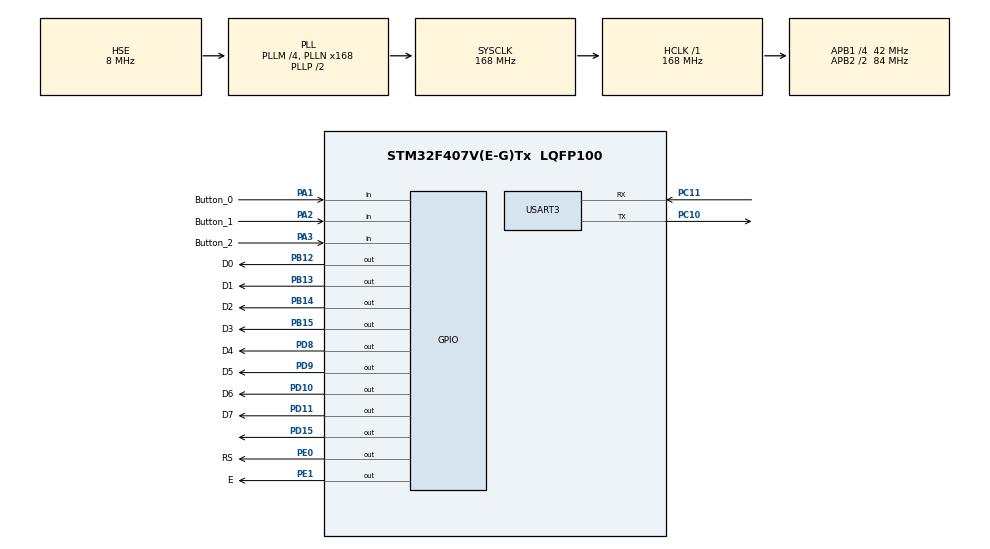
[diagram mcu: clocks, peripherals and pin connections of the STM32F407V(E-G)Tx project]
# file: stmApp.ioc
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Dma.Request0=USART3_TX
Dma.Request1=USART3_RX
Dma.USART3_RX.1.Direction=DMA_PERIPH_TO_MEMORY
Dma.USART3_RX.1.FIFOMode=DMA_FIFOMODE_DISABLE
Dma.USART3_RX.1.Instance=DMA1_Stream1
Dma.USART3_RX.1.MemDataAlignment=DMA_MDATAALIGN_BYTE
Dma.USART3_RX.1.MemInc=DMA_MINC_ENABLE
Dma.USART3_RX.1.Mode=DMA_NORMAL
Dma.USART3_RX.1.PeriphDataAlignment=DMA_PDATAALIGN_BYTE
Dma.USART3_RX.1.PeriphInc=DMA_PINC_DISABLE
Dma.USART3_RX.1.Priority=DMA_PRIORITY_LOW
Dma.USART3_TX.0.Direction=DMA_MEMORY_TO_PERIPH
Dma.USART3_TX.0.FIFOMode=DMA_FIFOMODE_DISABLE
Dma.USART3_TX.0.Instance=DMA1_Stream3
Dma.USART3_TX.0.MemDataAlignment=DMA_MDATAALIGN_BYTE
Dma.USART3_TX.0.MemInc=DMA_MINC_ENABLE
Dma.USART3_TX.0.Mode=DMA_NORMAL
Dma.USART3_TX.0.PeriphDataAlignment=DMA_PDATAALIGN_BYTE
Dma.USART3_TX.0.PeriphInc=DMA_PINC_DISABLE
Dma.USART3_TX.0.Priority=DMA_PRIORITY_LOW
Mcu.Family=STM32F4
Mcu.Name=STM32F407V(E-G)Tx
Mcu.Package=LQFP100
NVIC.DMA1_Stream1_IRQn=true\:0\:0\:false\:false\:true\:false
NVIC.DMA1_Stream3_IRQn=true\:0\:0\:false\:false\:true\:false
NVIC.PriorityGroup=NVIC_PRIORITYGROUP_4
NVIC.TIM1_UP_TIM10_IRQn=true\:0\:0\:false\:false\:true\:true
NVIC.USART3_IRQn=true\:0\:0\:false\:false\:true\:true
PA1.GPIO_Label=Button_0
PA1.GPIO_PuPd=GPIO_PULLUP
PA1.Signal=GPIO_Input
PA2.GPIO_Label=Button_1
PA2.GPIO_PuPd=GPIO_PULLUP
PA2.Signal=GPIO_Input
PA3.GPIO_Label=Button_2
PA3.GPIO_PuPd=GPIO_PULLUP
PA3.Signal=GPIO_Input
PB12.GPIO_Label=D0
PB12.Signal=GPIO_Output
PB13.GPIO_Label=D1
PB13.Signal=GPIO_Output
PB14.GPIO_Label=D2
PB14.Signal=GPIO_Output
PB15.GPIO_Label=D3
PB15.Signal=GPIO_Output
PC10.Mode=Asynchronous
PC10.Signal=USART3_TX
PC11.Mode=Asynchronous
PC11.Signal=USART3_RX
PD10.GPIO_Label=D6
PD10.Signal=GPIO_Output
PD11.GPIO_Label=D7
PD11.Signal=GPIO_Output
PD15.Signal=GPIO_Output
PD8.GPIO_Label=D4
PD8.Signal=GPIO_Output
PD9.GPIO_Label=D5
PD9.Signal=GPIO_Output
PE0.GPIO_Label=RS
PE0.Signal=GPIO_Output
PE1.GPIO_Label=E
PE1.Signal=GPIO_Output
PH0-OSC_IN.Mode=HSE-External-Oscillator
PH0-OSC_IN.Signal=RCC_OSC_IN
PH1-OSC_OUT.Mode=HSE-External-Oscillator
PH1-OSC_OUT.Signal=RCC_OSC_OUT
ProjectManager.HeapSize=0x200
ProjectManager.StackSize=0x400
ProjectManager.TargetToolchain=SW4STM32
RCC.48MHZClocksFreq_Value=84000000
RCC.AHBFreq_Value=168000000
RCC.APB1CLKDivider=RCC_HCLK_DIV4
RCC.APB1Freq_Value=42000000
RCC.APB1TimFreq_Value=84000000
RCC.APB2CLKDivider=RCC_HCLK_DIV2
RCC.APB2Freq_Value=84000000
RCC.APB2TimFreq_Value=168000000
RCC.CortexFreq_Value=168000000
RCC.HCLKFreq_Value=168000000
RCC.HSE_VALUE=8000000
RCC.HSI_VALUE=16000000
RCC.LSE_VALUE=32768
RCC.PLLM=4
RCC.PLLN=168
RCC.PLLSourceVirtual=RCC_PLLSOURCE_HSE
RCC.SYSCLKFreq_VALUE=168000000
RCC.SYSCLKSource=RCC_SYSCLKSOURCE_PLLCLK
RCC.VCOOutputFreq_Value=336000000
TIM10.Period=9999
TIM10.Prescaler=8399
USART3.VirtualMode=VM_ASYNC
VP_TIM10_VS_ClockSourceINT.Mode=Enable_Timer
board=custom

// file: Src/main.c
/**
  ******************************************************************************
  * @file           : main.c
  * @brief          : Main program body
  ******************************************************************************
  ** This notice applies to any and all portions of this file
  * that are not between comment pairs USER CODE BEGIN and
  * USER CODE END. Other portions of this file, whether
  * inserted by the user or by software development tools
  * are owned by their respective copyright owners.
  *
  * COPYRIGHT(c) 2018 STMicroelectronics
  *
  * Redistribution and use in source and binary forms, with or without modification,
  * are permitted provided that the following conditions are met:
  *   1. Redistributions of source code must retain the above copyright notice,
  *      this list of conditions and the following disclaimer.
  *   2. Redistributions in binary form must reproduce the above copyright notice,
  *      this list of conditions and the following disclaimer in the documentation
  *      and/or other materials provided with the distribution.
  *   3. Neither the name of STMicroelectronics nor the names of its contributors
  *      may be used to endorse or promote products derived from this software
  *      without specific prior written permission.
  *
  * THIS SOFTWARE IS PROVIDED BY THE COPYRIGHT HOLDERS AND CONTRIBUTORS "AS IS"
  * AND ANY EXPRESS OR IMPLIED WARRANTIES, INCLUDING, BUT NOT LIMITED TO, THE
  * IMPLIED WARRANTIES OF MERCHANTABILITY AND FITNESS FOR A PARTICULAR PURPOSE ARE
  * DISCLAIMED. IN NO EVENT SHALL THE COPYRIGHT HOLDER OR CONTRIBUTORS BE LIABLE
  * FOR ANY DIRECT, INDIRECT, INCIDENTAL, SPECIAL, EXEMPLARY, OR CONSEQUENTIAL
  * DAMAGES (INCLUDING, BUT NOT LIMITED TO, PROCUREMENT OF SUBSTITUTE GOODS OR
  * SERVICES; LOSS OF USE, DATA, OR PROFITS; OR BUSINESS INTERRUPTION) HOWEVER
  * CAUSED AND ON ANY THEORY OF LIABILITY, WHETHER IN CONTRACT, STRICT LIABILITY,
  * OR TORT (INCLUDING NEGLIGENCE OR OTHERWISE) ARISING IN ANY WAY OUT OF THE USE
  * OF THIS SOFTWARE, EVEN IF ADVISED OF THE POSSIBILITY OF SUCH DAMAGE.
  *
  ******************************************************************************
  */
#include "main.h"
#include "stm32f4xx_hal.h"

/* USER CODE BEGIN Includes */
#include <stdlib.h>
#include <stdio.h>
/* USER CODE END Includes */

TIM_HandleTypeDef htim10;

UART_HandleTypeDef huart3;
DMA_HandleTypeDef hdma_usart3_tx;
DMA_HandleTypeDef hdma_usart3_rx;

/* USER CODE BEGIN PV */
/* Private variables ---------------------------------------------------------*/
uint8_t Received[250];
const float PLN = 3.71;
static uint8_t AllData[300];
	 static uint8_t Data1[250];
	 static uint8_t Data2[250];
	 static uint8_t Price[15];
/* USER CODE END PV */

void SystemClock_Config(void);
static void MX_GPIO_Init(void);
static void MX_DMA_Init(void);
static void MX_USART3_UART_Init(void);
static void MX_TIM10_Init(void);

/* USER CODE BEGIN PFP */
/* Private function prototypes -----------------------------------------------*/
void HAL_UART_RxCpltCallback(UART_HandleTypeDef *huart);
void HD44780_Print(uint8_t *message);
void send();
/* USER CODE END PFP */

int main(void)
{

  /* MCU Configuration----------------------------------------------------------*/

  /* Reset of all peripherals, Initializes the Flash interface and the Systick. */
  HAL_Init();

  /* Configure the system clock */
  SystemClock_Config();

  /* Initialize all configured peripherals */
  MX_GPIO_Init();
  MX_DMA_Init();
  MX_USART3_UART_Init();
  MX_TIM10_Init();

  /* USER CODE BEGIN 2 */
  HAL_TIM_Base_Start_IT(&htim10);
  HAL_UART_Receive_DMA(&huart3, &Received, 250);
  /* USER CODE END 2 */

  /* Infinite loop */
  /* USER CODE BEGIN WHILE */
  LCD1602_Begin8BIT(RS_GPIO_Port,RS_Pin,E_Pin,D0_GPIO_Port,D0_Pin,D1_Pin,D2_Pin,D3_Pin,D4_GPIO_Port,D4_Pin,D5_Pin,D6_Pin,D7_Pin);
  while (1)
  {

  /* USER CODE END WHILE */
	  send();

  }

}

void SystemClock_Config(void)
{

  RCC_OscInitTypeDef RCC_OscInitStruct;
  RCC_ClkInitTypeDef RCC_ClkInitStruct;

    /**Configure the main internal regulator output voltage
    */
  __HAL_RCC_PWR_CLK_ENABLE();

  __HAL_PWR_VOLTAGESCALING_CONFIG(PWR_REGULATOR_VOLTAGE_SCALE1);

    /**Initializes the CPU, AHB and APB busses clocks
    */
  RCC_OscInitStruct.OscillatorType = RCC_OSCILLATORTYPE_HSE;
  RCC_OscInitStruct.HSEState = RCC_HSE_ON;
  RCC_OscInitStruct.PLL.PLLState = RCC_PLL_ON;
  RCC_OscInitStruct.PLL.PLLSource = RCC_PLLSOURCE_HSE;
  RCC_OscInitStruct.PLL.PLLM = 4;
  RCC_OscInitStruct.PLL.PLLN = 168;
  RCC_OscInitStruct.PLL.PLLP = RCC_PLLP_DIV2;
  RCC_OscInitStruct.PLL.PLLQ = 4;
  if (HAL_RCC_OscConfig(&RCC_OscInitStruct) != HAL_OK)
  {
    _Error_Handler(__FILE__, __LINE__);
  }

    /**Initializes the CPU, AHB and APB busses clocks
    */
  RCC_ClkInitStruct.ClockType = RCC_CLOCKTYPE_HCLK|RCC_CLOCKTYPE_SYSCLK
                              |RCC_CLOCKTYPE_PCLK1|RCC_CLOCKTYPE_PCLK2;
  RCC_ClkInitStruct.SYSCLKSource = RCC_SYSCLKSOURCE_PLLCLK;
  RCC_ClkInitStruct.AHBCLKDivider = RCC_SYSCLK_DIV1;
  RCC_ClkInitStruct.APB1CLKDivider = RCC_HCLK_DIV4;
  RCC_ClkInitStruct.APB2CLKDivider = RCC_HCLK_DIV2;

  if (HAL_RCC_ClockConfig(&RCC_ClkInitStruct, FLASH_LATENCY_5) != HAL_OK)
  {
    _Error_Handler(__FILE__, __LINE__);
  }

    /**Configure the Systick interrupt time
    */
  HAL_SYSTICK_Config(HAL_RCC_GetHCLKFreq()/1000);

    /**Configure the Systick
    */
  HAL_SYSTICK_CLKSourceConfig(SYSTICK_CLKSOURCE_HCLK);

  /* SysTick_IRQn interrupt configuration */
  HAL_NVIC_SetPriority(SysTick_IRQn, 0, 0);
}

/* TIM10 init function */
static void MX_TIM10_Init(void)
{

  htim10.Instance = TIM10;
  htim10.Init.Prescaler = 8399;
  htim10.Init.CounterMode = TIM_COUNTERMODE_UP;
  htim10.Init.Period = 9999;
  htim10.Init.ClockDivision = TIM_CLOCKDIVISION_DIV1;
  if (HAL_TIM_Base_Init(&htim10) != HAL_OK)
  {
    _Error_Handler(__FILE__, __LINE__);
  }

}

/* USART3 init function */
static void MX_USART3_UART_Init(void)
{

  huart3.Instance = USART3;
  huart3.Init.BaudRate = 115200;
  huart3.Init.WordLength = UART_WORDLENGTH_8B;
  huart3.Init.StopBits = UART_STOPBITS_1;
  huart3.Init.Parity = UART_PARITY_NONE;
  huart3.Init.Mode = UART_MODE_TX_RX;
  huart3.Init.HwFlowCtl = UART_HWCONTROL_NONE;
  huart3.Init.OverSampling = UART_OVERSAMPLING_16;
  if (HAL_UART_Init(&huart3) != HAL_OK)
  {
    _Error_Handler(__FILE__, __LINE__);
  }

}

static void MX_DMA_Init(void)
{
  /* DMA controller clock enable */
  __HAL_RCC_DMA1_CLK_ENABLE();

  /* DMA interrupt init */
  /* DMA1_Stream1_IRQn interrupt configuration */
  HAL_NVIC_SetPriority(DMA1_Stream1_IRQn, 0, 0);
  HAL_NVIC_EnableIRQ(DMA1_Stream1_IRQn);
  /* DMA1_Stream3_IRQn interrupt configuration */
  HAL_NVIC_SetPriority(DMA1_Stream3_IRQn, 0, 0);
  HAL_NVIC_EnableIRQ(DMA1_Stream3_IRQn);

}

/** Configure pins as
        * Analog
        * Input
        * Output
        * EVENT_OUT
        * EXTI
*/
static void MX_GPIO_Init(void)
{

  GPIO_InitTypeDef GPIO_InitStruct;

  /* GPIO Ports Clock Enable */
  __HAL_RCC_GPIOH_CLK_ENABLE();
  __HAL_RCC_GPIOA_CLK_ENABLE();
  __HAL_RCC_GPIOB_CLK_ENABLE();
  __HAL_RCC_GPIOD_CLK_ENABLE();
  __HAL_RCC_GPIOC_CLK_ENABLE();
  __HAL_RCC_GPIOE_CLK_ENABLE();

  /*Configure GPIO pin Output Level */
  HAL_GPIO_WritePin(GPIOB, D0_Pin|D1_Pin|D2_Pin|D3_Pin, GPIO_PIN_RESET);

  /*Configure GPIO pin Output Level */
  HAL_GPIO_WritePin(GPIOD, D4_Pin|D5_Pin|D6_Pin|D7_Pin
                          |GPIO_PIN_15, GPIO_PIN_RESET);

  /*Configure GPIO pin Output Level */
  HAL_GPIO_WritePin(GPIOE, RS_Pin|E_Pin, GPIO_PIN_RESET);

  /*Configure GPIO pins : Button_0_Pin Button_1_Pin Button_2_Pin */
  GPIO_InitStruct.Pin = Button_0_Pin|Button_1_Pin|Button_2_Pin;
  GPIO_InitStruct.Mode = GPIO_MODE_INPUT;
  GPIO_InitStruct.Pull = GPIO_PULLUP;
  HAL_GPIO_Init(GPIOA, &GPIO_InitStruct);

  /*Configure GPIO pins : D0_Pin D1_Pin D2_Pin D3_Pin */
  GPIO_InitStruct.Pin = D0_Pin|D1_Pin|D2_Pin|D3_Pin;
  GPIO_InitStruct.Mode = GPIO_MODE_OUTPUT_PP;
  GPIO_InitStruct.Pull = GPIO_NOPULL;
  GPIO_InitStruct.Speed = GPIO_SPEED_FREQ_LOW;
  HAL_GPIO_Init(GPIOB, &GPIO_InitStruct);

  /*Configure GPIO pins : D4_Pin D5_Pin D6_Pin D7_Pin
                           PD15 */
  GPIO_InitStruct.Pin = D4_Pin|D5_Pin|D6_Pin|D7_Pin
                          |GPIO_PIN_15;
  GPIO_InitStruct.Mode = GPIO_MODE_OUTPUT_PP;
  GPIO_InitStruct.Pull = GPIO_NOPULL;
  GPIO_InitStruct.Speed = GPIO_SPEED_FREQ_LOW;
  HAL_GPIO_Init(GPIOD, &GPIO_InitStruct);

  /*Configure GPIO pins : RS_Pin E_Pin */
  GPIO_InitStruct.Pin = RS_Pin|E_Pin;
  GPIO_InitStruct.Mode = GPIO_MODE_OUTPUT_PP;
  GPIO_InitStruct.Pull = GPIO_NOPULL;
  GPIO_InitStruct.Speed = GPIO_SPEED_FREQ_LOW;
  HAL_GPIO_Init(GPIOE, &GPIO_InitStruct);

}

/* USER CODE BEGIN 4 */
void HAL_UART_RxCpltCallback(UART_HandleTypeDef *huart){

	 sprintf(AllData, "%s\n\r", Received);

	 float fPrice;
	 int i = 0;
	 for(int j = 19; AllData[j]!=';'; j++){
		 Price[i] = AllData[j];
	 }
	 fPrice = atof(Price);
	 i = 0;
	 while(AllData[i]!=';'){
		 Data1[i]=AllData[i];
		 i++;
	 }
	 int j = i;
	 i = 0;
	 while(AllData[j]!=';'){
		 Data2[i] = AllData[j];
		 j++;
		 i++;
	 }

	 HAL_UART_Transmit_DMA(&huart3, AllData, 300);

	 if((!HAL_GPIO_ReadPin(GPIOA, Button_0_Pin))){
		//LCD1602_Begin8BIT(RS_GPIO_Port,RS_Pin,E_Pin,D0_GPIO_Port,D0_Pin,D1_Pin,D2_Pin,D3_Pin,D4_GPIO_Port,D4_Pin,D5_Pin,D6_Pin,D7_Pin);
		//LCD1602_print(Data1);
	 }
	 else if((!HAL_GPIO_ReadPin(GPIOA, Button_1_Pin))){
		// LCD1602_Begin8BIT(RS_GPIO_Port,RS_Pin,E_Pin,D0_GPIO_Port,D0_Pin,D1_Pin,D2_Pin,D3_Pin,D4_GPIO_Port,D4_Pin,D5_Pin,D6_Pin,D7_Pin);
		// LCD1602_print(Data2);
	 }
	 else if((!HAL_GPIO_ReadPin(GPIOA, Button_2_Pin))){
		// LCD1602_Begin8BIT(RS_GPIO_Port,RS_Pin,E_Pin,D0_GPIO_Port,D0_Pin,D1_Pin,D2_Pin,D3_Pin,D4_GPIO_Port,D4_Pin,D5_Pin,D6_Pin,D7_Pin);
		// LCD1602_PrintFloat(fPrice*PLN);
	 }
}
void send(){
	static uint8_t data[15];

	if((!HAL_GPIO_ReadPin(GPIOA, Button_0_Pin))){
		sprintf(data, "Przycisk 0\n\r");
		HAL_UART_Transmit_DMA(&huart3, data, 15);
		HAL_Delay(500);
	}
	else if((!HAL_GPIO_ReadPin(GPIOA, Button_1_Pin))){
		sprintf(data, "Przycisk 1\n\r");
		HAL_UART_Transmit_DMA(&huart3, data, 15);
		HAL_Delay(500);
	}
	else if((!HAL_GPIO_ReadPin(GPIOA, Button_2_Pin))){
		sprintf(data, "Przycisk 2\n\r");
		HAL_UART_Transmit_DMA(&huart3, data, 15);
		HAL_Delay(500);
	}
}

/* USER CODE END 4 */

void _Error_Handler(char *file, int line)
{
  while(1)
  {
  }
}

/************************ (C) COPYRIGHT STMicroelectronics *****END OF FILE****/
